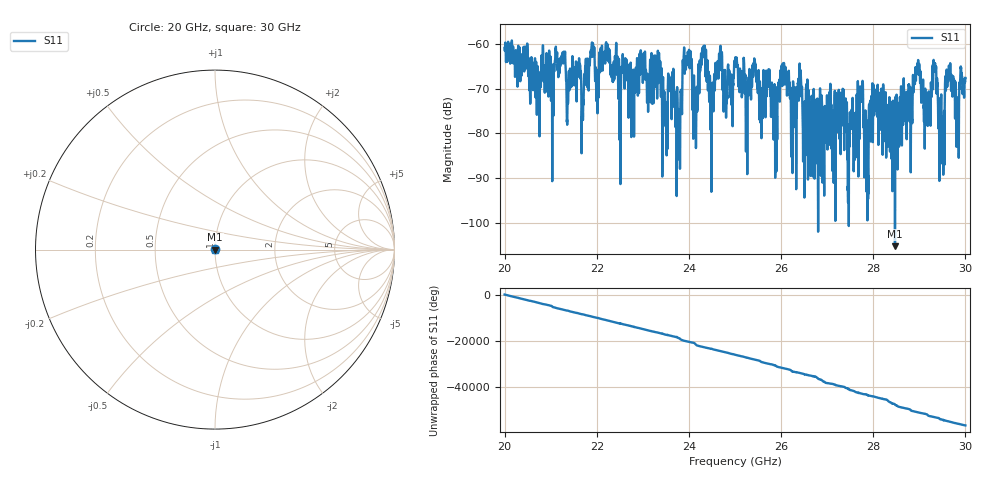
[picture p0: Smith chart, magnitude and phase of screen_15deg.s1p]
#  HZ  S  RI  R  50.00
! Rohde & Schwarz ZVA40 4Ports - Version 3.90 - 1145.1110k42 SN: 100403
! Date: 2023-09-30 06:32:17
! Measurement: S12
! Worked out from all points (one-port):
!   5001 points, 20 GHz to 30 GHz, reference 50 ohm
!   lowest |S11| = -105.2 dB at 28.47 GHz (marker M1), VSWR 1.00, Z = 50 - j0.000267 ohm
!   |S11| at or under -10 dB: start of sweep to end of sweep
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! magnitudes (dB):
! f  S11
! 20 GHz  -60.9
! 20.74 GHz  -66.5
! 21.25 GHz  -62.0
! 21.38 GHz  -69.6
! 21.71 GHz  -72.4
! 21.9 GHz  -61.2
! 22.5 GHz  -73.9
! 23.31 GHz  -68.5
! 23.75 GHz  -71.6
! 23.93 GHz  -65.7
! 24.14 GHz  -72.3
! 24.3 GHz  -62.5
! 24.49 GHz  -93.1
! 24.67 GHz  -62.7
! 25 GHz  -64.4
! 25.88 GHz  -74.1
! 26.06 GHz  -65.3
! 26.25 GHz  -85.3
! 27.5 GHz  -79.1
! 28.47 GHz  -105.2
! 28.75 GHz  -71.7
! 28.96 GHz  -64.3
! 29.2 GHz  -73.6
! 29.33 GHz  -64.8
! 29.5 GHz  -76.7
! 29.63 GHz  -67.6
! 29.82 GHz  -74.0
! 30 GHz  -67.6
